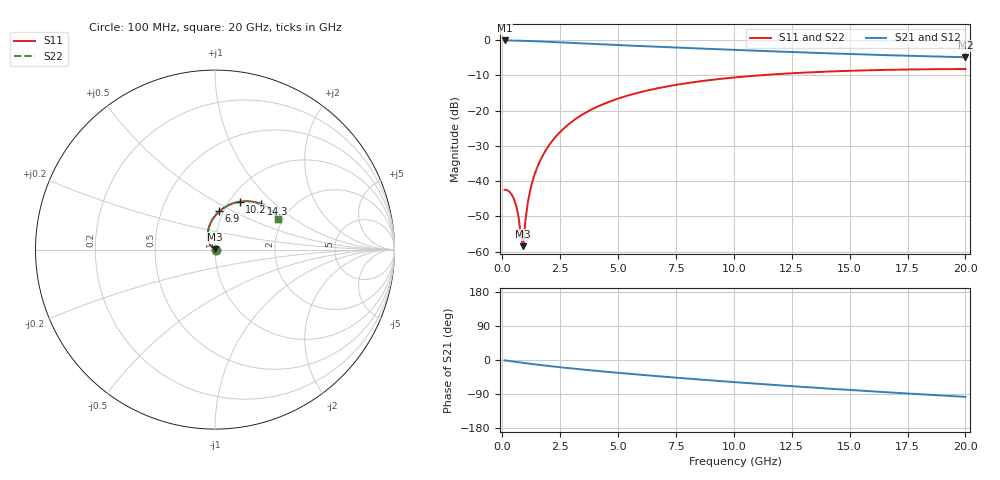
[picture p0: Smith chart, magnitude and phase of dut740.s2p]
! Touchstone file exported from HFSS 2024.1.0
!  File:  C:/UserFiles/LocalFiles/RDL_TSV_Batchsim/temp_RDL_TSV_740_1779895318.aedt
!  Generated:  11:36:30 PM May 27, 2026
!  Design:  RDL_TSV
!  Project:  temp_RDL_TSV_740_1779895318
!  Setup:  Setup1
!  Solution:  Sweep
! Variables:
!  dtsv = 7.95um
!  hbump = 3um
!  htsv = 54.11um
!  ldown = 185.94um
!  lrdl = 175.35um
!  p = 40
!  p1 = 43.74um
!  rhole = 10um
!  subl = 1259.22um
!  t = 450um
!  tdown = 3.02um
!  trdl = 4.68um
!  viad = 10um
!  wdown = 15.66um
!  wrdl = 21.86um
!  xbump = 18um
# GHz S MA R 50.000000
! Terminal data exported
! Port[1] = TM1_1_T1
! Port[2] = TM1_4_T1
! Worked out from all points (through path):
!   200 points, 100 MHz to 20 GHz, reference 50 ohm
!   highest |S21| = -0.07 dB at 100 MHz (marker M1); lowest = -4.8 dB at 20 GHz (marker M2)
!   group delay of S21, straight-line fit = 12.9 ps
!   lowest |S11| = -58.4 dB at 900 MHz (marker M3), VSWR 1.00, Z = 50 + j0.119 ohm
!   |S11| at or under -10 dB: start of sweep to 11.04 GHz
!   |S22| runs from -58.4 to -8.2 dB; largest |S21 - S12| = 1.4e-14
!   S11 on the Smith chart (normalised r, x): 100 MHz: 1.02, +0.00; 6.9 GHz: 0.96, +0.43; 10.2 GHz: 1.11, +0.65; 14.3 GHz: 1.42, +0.82; 20 GHz: 1.87, +0.76
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0.1  0.007578 1.0  0.9922 -0.9  0.9922 -0.9  0.007578 1.0
! Gamma 0 0 0 0
! Port Impedance 50 0 50 0
0.4  0.00652 -0.1  0.9895 -3.4  0.9895 -3.4  0.006521 -0.1
0.6  0.004503 0.3  0.9867 -5.1  0.9867 -5.1  0.004504 0.3
0.7  0.003156 4.4  0.985 -5.9  0.985 -5.9  0.003158 4.4
0.8  0.001714 21.4  0.9831 -6.7  0.9831 -6.7  0.001716 21.4
0.9  0.001198 95.9  0.981 -7.5  0.981 -7.5  0.001197 95.8
1  0.002786 135.4  0.9787 -8.3  0.9787 -8.3  0.002783 135.4
1.1  0.004928 143.6  0.9762 -9.1  0.9762 -9.1  0.004923 143.6
1.2  0.007305 145.8  0.9736 -9.9  0.9736 -9.9  0.0073 145.8
1.4  0.01259 145.5  0.968 -11.4  0.968 -11.4  0.01259 145.5
1.6  0.01848 143.3  0.962 -12.9  0.962 -12.9  0.01847 143.3
2.4  0.04627 131.6  0.9355 -18.5  0.9355 -18.5  0.04625 131.6
3.5  0.08968 116.5  0.8986 -25.4  0.8986 -25.4  0.08964 116.5
4.9  0.1447 100.9  0.856 -33.3  0.856 -33.3  0.1447 100.9
6.8  0.2111 84.4  0.805 -43.1  0.805 -43.1  0.211 84.4
6.9  0.2143 83.6  0.8025 -43.6  0.8025 -43.6  0.2142 83.6
10.1  0.2978 63.4  0.728 -58.8  0.728 -58.8  0.2977 63.4
10.2  0.2999 62.9  0.7259 -59.2  0.7259 -59.2  0.2998 62.8
13.4  0.3517 47.9  0.6636 -72.7  0.6636 -72.7  0.3516 47.9
14.3  0.3617 44.4  0.6484 -76.3  0.6484 -76.3  0.3615 44.4
16.7  0.3803 35.9  0.6125 -85.4  0.6125 -85.4  0.3801 35.9
20  0.3898 26.3  0.5741 -97.3  0.5741 -97.3  0.3896 26.2
